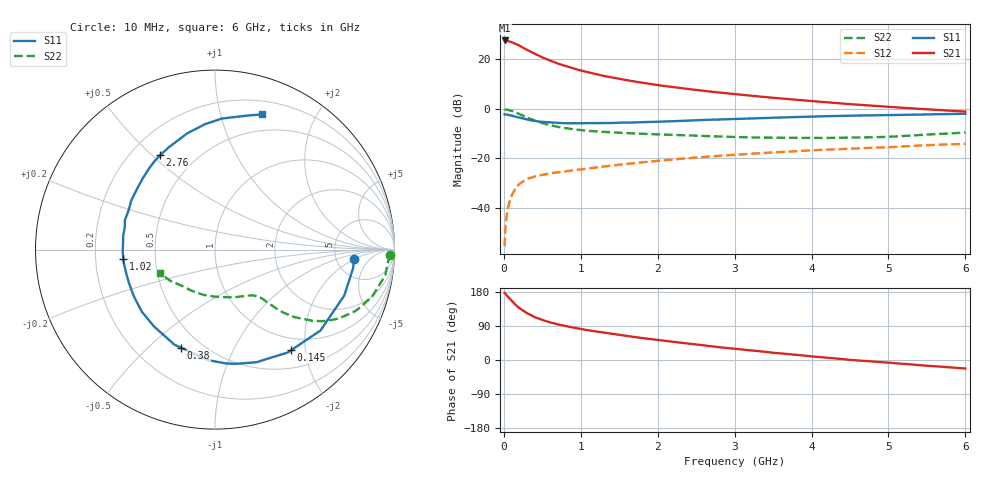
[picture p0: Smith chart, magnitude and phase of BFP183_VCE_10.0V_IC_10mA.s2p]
! Infineon Technologies  Discrete & RF Semiconductors
! BFP183
! VCE = 10.0V,  IC =  10 mA
! Common Emitter S-Parameters:  Jan 2016
# GHz  S  MA  R  50
!  f  S11  S21  S12  S22
! GHz  MAG  ANG  MAG  ANG  MAG  ANG  MAG  ANG
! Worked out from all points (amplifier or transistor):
!   210 points, 10 MHz to 6 GHz, reference 50 ohm
!   highest |S21| = 27.6 dB at 10 MHz (marker M1)
!   |S21| within 3 dB of that: start of sweep to 254 MHz
!   unconditionally stable (mu >= 1): 1.295 GHz to 5.784 GHz
!   at 185 MHz: K = 0.24, MSG = 28.3 dB, |S12| = -30.9 dB
!   at 1.52 GHz: K = 1.05, MAG = 15.9 dB, |S12| = -22.5 dB
!   at 6 GHz: K = 0.96, MSG = 6.5 dB, |S12| = -14.1 dB
!   S11 on the Smith chart (normalised r, x): 10 MHz: 7.46, -1.94; 145 MHz: 0.78, -1.74; 380 MHz: 0.39, -0.64; 1.02 GHz: 0.32, -0.05; 2.76 GHz: 0.32, +0.53; 6 GHz: 0.33, +1.36
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0.01  0.7771 -3.8  24.01 177.0  0.0017 75.7  0.9768 -1.7
0.02  0.7762 -7.8  23.95 175.1  0.0039 78.6  0.9686 -3.4
0.05  0.7643 -19.6  23.67 167.5  0.0093 79.4  0.9591 -8.6
0.1  0.7406 -37.5  22.21 156.4  0.0176 70.3  0.9134 -16.8
0.145  0.7031 -52.9  20.84 147.1  0.0238 64.3  0.8601 -22.9
0.2  0.6686 -69.8  19.02 137.1  0.0304 58.3  0.7895 -29.1
0.24  0.6466 -79.9  17.47 131.4  0.0336 54.2  0.7399 -32.4
0.3  0.6164 -93.9  15.61 123.7  0.0385 49.9  0.6713 -36.2
0.38  0.5786 -109.1  13.48 115.5  0.0423 46.6  0.5977 -39.5
0.4  0.5759 -113.1  13 113.1  0.0433 45.9  0.5796 -40.4
0.5  0.5469 -128.4  10.9 105.4  0.0468 42.4  0.5139 -42.8
0.6  0.5344 -139.9  9.449 99.3  0.0499 41.5  0.469 -44.0
0.7  0.5217 -150.0  8.193 94.1  0.0525 40.9  0.4339 -44.7
0.8  0.5142 -158.6  7.334 89.6  0.0548 40.7  0.4088 -45.3
1.02  0.5138 -174.2  5.843 81.1  0.0605 41.1  0.3696 -46.5
1.46  0.5239 163.6  4.145 67.4  0.0735 41.3  0.3327 -50.1
2.02  0.5511 141.8  2.987 52.4  0.09 40.7  0.3058 -57.8
2.76  0.6079 120.2  2.167 34.7  0.1118 37.3  0.2788 -72.1
3.1  0.6319 112.0  1.92 27.8  0.1213 35.3  0.2686 -80.0
4.1  0.706 93.0  1.398 7.9  0.1483 28.6  0.2595 -107.4
5.1  0.7529 79.9  1.073 -8.7  0.172 22.7  0.2784 -135.1
6  0.798 70.7  0.881 -22.5  0.1976 15.5  0.333 -156.5
